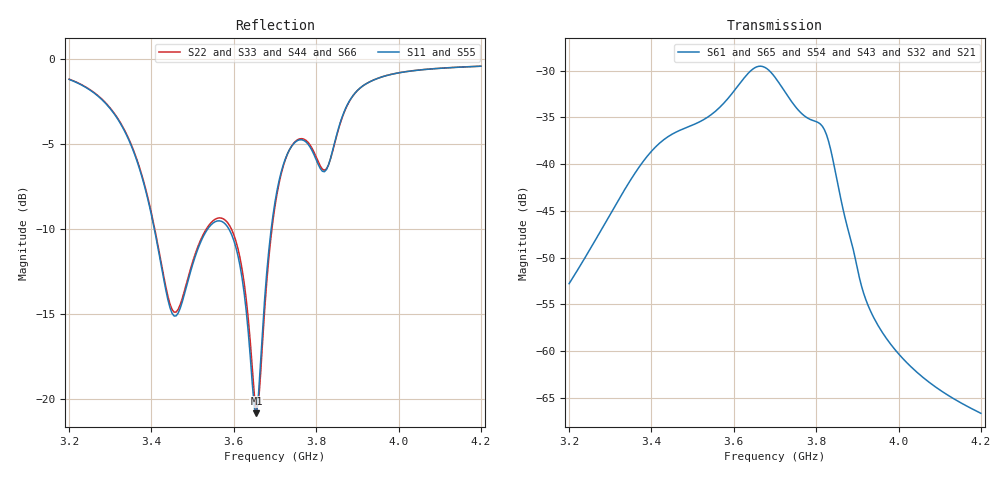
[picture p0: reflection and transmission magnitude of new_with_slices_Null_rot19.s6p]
! Touchstone file exported from HFSS 2024.2.0
!  File:  D:/Jatin/new_with_slices.aedt
!  Generated:  05:20:51 PM Oct  4, 2026
!  Design:  Null_rot19
!  Project:  new_with_slices
!  Setup:  Setup1
!  Solution:  Sweep
! Variables:
!  $L = 85mm
!  $W = 35mm
!  H = 1.575mm
!  L = 42mm
!  W = 35mm
!  Wb = 6mm
!  a = 3.5mm
!  ant_dist = 115mm
!  ant_gap = 3mm
!  b = 5mm
!  c = 5mm
!  d = 2mm
!  e_S1 = 0mm
!  e_S2 = 0mm
!  e_S3 = 0mm
!  e_S4 = 0mm
!  e_S5 = 0mm
!  e_S6 = 0mm
!  g1 = 2mm
!  g2 = 2mm
!  g3 = 1mm
!  g4 = 2mm
!  gap = 10mm
!  r1 = 3.5mm
!  r2 = 6mm
!  r_brain = 95mm
!  r_brain_ad = 61.68mm
!  r_csf = 95.5mm
!  r_csf_expanded = 64.6mm
!  r_csf_inner = 61.68mm
!  r_csf_outer = 83.5mm
!  r_fat = 87.5mm
!  r_gray = 70.55mm
!  r_gray_healthy = 83mm
!  r_grey_healthy = 83mm
!  r_hip = 25mm
!  r_hippo_healthy = 25mm
!  r_skin = 88mm
!  r_skull = 86.5mm
!  r_white = 17.5mm
!  r_white_healthy = 76mm
!  slot_distance = 15mm
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# GHz S MA R 50.000000
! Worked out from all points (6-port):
!   201 points, 3.2 GHz to 4.2 GHz, reference 50 ohm
!   strongest paths, dB at 3.2 GHz, 3.45 GHz, 3.7 GHz, 3.95 GHz, 4.2 GHz:
!     S61: -52.8, -36.8, -30.7, -57.3, -66.7
!     S65: -52.7, -36.8, -30.9, -57.4, -66.7
!     S54: -52.7, -36.9, -30.6, -57.3, -66.6
!     S43: -52.8, -36.8, -30.9, -57.2, -66.6
!     S32: -52.8, -36.9, -30.8, -57.2, -66.5
!     S21: -52.7, -36.8, -30.9, -57.3, -66.6
!   lowest |S11| = -20.9 dB at 3.655 GHz (marker M1), VSWR 1.20, Z = 44.5 - j6.6 ohm
!   |S11| at or under -10 dB: 3.407 GHz to 3.537 GHz (130 MHz wide, 3.74 % of centre); 3.588 GHz to 3.691 GHz (103.1 MHz wide, 2.83 % of centre)
